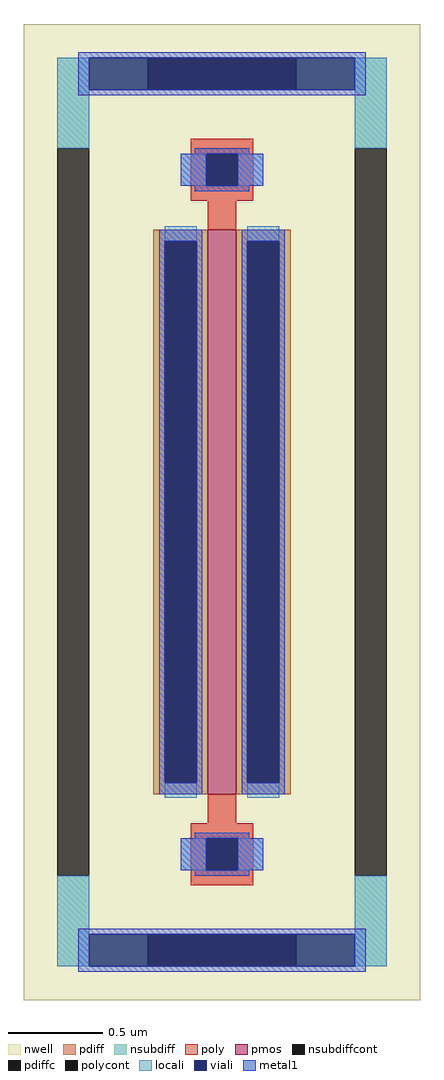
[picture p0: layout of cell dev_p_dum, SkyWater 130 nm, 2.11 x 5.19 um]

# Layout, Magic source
magic
tech sky130A
magscale 1 2
<< nwell >>
rect -211 -519 211 519
<< pmos >>
rect -15 -300 15 300
<< pdiff >>
rect -73 288 -15 300
rect -73 -288 -61 288
rect -27 -288 -15 288
rect -73 -300 -15 -288
rect 15 288 73 300
rect 15 -288 27 288
rect 61 -288 73 288
rect 15 -300 73 -288
<< pdiffc >>
rect -61 -288 -27 288
rect 27 -288 61 288
<< nsubdiff >>
rect -175 449 -79 483
rect 79 449 175 483
rect -175 387 -141 449
rect 141 387 175 449
rect -175 -449 -141 -387
rect 141 -449 175 -387
rect -175 -483 -79 -449
rect 79 -483 175 -449
<< nsubdiffcont >>
rect -79 449 79 483
rect -175 -387 -141 387
rect 141 -387 175 387
rect -79 -483 79 -449
<< poly >>
rect -33 381 33 397
rect -33 347 -17 381
rect 17 347 33 381
rect -33 331 33 347
rect -15 300 15 331
rect -15 -331 15 -300
rect -33 -347 33 -331
rect -33 -381 -17 -347
rect 17 -381 33 -347
rect -33 -397 33 -381
<< polycont >>
rect -17 347 17 381
rect -17 -381 17 -347
<< locali >>
rect -175 387 -141 483
rect 141 387 175 483
rect -44 347 -17 381
rect 17 347 44 381
rect -61 288 -27 304
rect -61 -304 -27 -288
rect 27 288 61 304
rect 27 -304 61 -288
rect -44 -381 -17 -347
rect 17 -381 44 -347
rect -175 -483 -141 -387
rect 141 -483 175 -387
<< viali >>
rect -141 449 -79 483
rect -79 449 79 483
rect 79 449 141 483
rect -17 347 17 381
rect -61 -288 -27 288
rect 27 -288 61 288
rect -17 -381 17 -347
rect -141 -483 -79 -449
rect -79 -483 79 -449
rect 79 -483 141 -449
<< metal1 >>
rect -153 483 153 489
rect -153 449 -141 483
rect 141 449 153 483
rect -153 443 153 449
rect -29 381 29 387
rect -44 347 -17 381
rect 17 347 44 381
rect -29 341 29 347
rect -67 288 -21 300
rect -67 -288 -61 288
rect -27 -288 -21 288
rect -67 -300 -21 -288
rect 21 288 67 300
rect 21 -288 27 288
rect 61 -288 67 288
rect 21 -300 67 -288
rect -29 -347 29 -341
rect -44 -381 -17 -347
rect 17 -381 44 -347
rect -29 -387 29 -381
rect -153 -449 153 -443
rect -153 -483 -141 -449
rect 141 -483 153 -449
rect -153 -489 153 -483
<< properties >>
string FIXED_BBOX -158 -466 158 466
<< end >>
